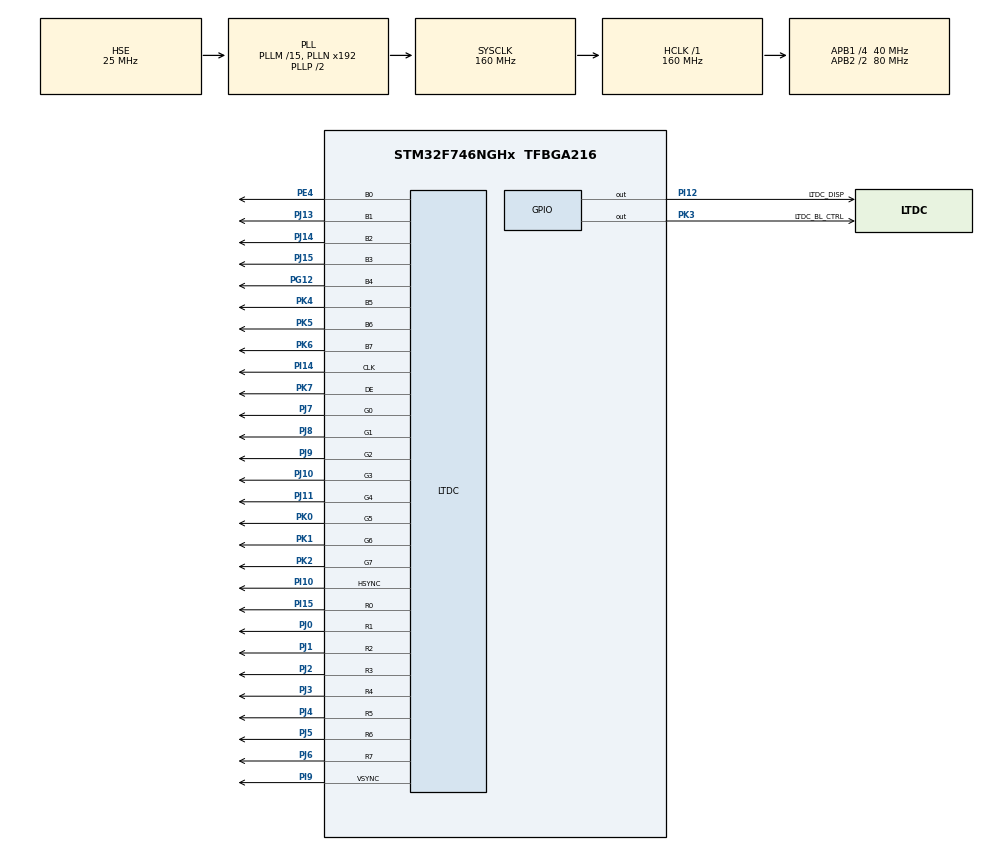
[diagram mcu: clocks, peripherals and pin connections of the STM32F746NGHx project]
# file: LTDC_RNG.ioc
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CORTEX_M7.AccessPermission-Cortex_Memory_Protection_Unit_Region0_Settings=MPU_REGION_NO_ACCESS
CORTEX_M7.BaseAddress-Cortex_Memory_Protection_Unit_Region0_Settings=0x0
CORTEX_M7.CPU_DCache=Disabled
CORTEX_M7.CPU_ICache=Disabled
CORTEX_M7.Enable-Cortex_Memory_Protection_Unit_Region0_Settings=MPU_REGION_ENABLE
CORTEX_M7.IsCacheable-Cortex_Memory_Protection_Unit_Region0_Settings=MPU_ACCESS_NOT_CACHEABLE
CORTEX_M7.MPU_Control=__NULL
CORTEX_M7.Size-Cortex_Memory_Protection_Unit_Region0_Settings=MPU_REGION_SIZE_256KB
LTDC.ActiveH=272
LTDC.ActiveW=480
LTDC.Alpha_L0=255
LTDC.HBP=13
LTDC.HFP=32
LTDC.HSync=41
LTDC.ImageHeight_L0=272
LTDC.ImageWidth_L0=480
LTDC.Layers=0
LTDC.PixelFormat_L0=LTDC_PIXEL_FORMAT_RGB565
LTDC.VSync=10
LTDC.WindowX1_L0=480
LTDC.WindowY1_L0=272
Mcu.Family=STM32F7
Mcu.Name=STM32F746NGHx
Mcu.Package=TFBGA216
NVIC.PriorityGroup=NVIC_PRIORITYGROUP_4
PA13.Mode=Trace_Asynchronous_SW
PA13.Signal=SYS_JTMS-SWDIO
PA14.Mode=Trace_Asynchronous_SW
PA14.Signal=SYS_JTCK-SWCLK
PB3.Mode=Trace_Asynchronous_SW
PB3.Signal=SYS_JTDO-SWO
PE4.GPIO_Speed=GPIO_SPEED_FREQ_HIGH
PE4.Mode=RGB888
PE4.Signal=LTDC_B0
PG12.GPIO_Speed=GPIO_SPEED_FREQ_HIGH
PG12.Mode=RGB888
PG12.Signal=LTDC_B4
PH0/OSC_IN.Mode=HSE-External-Oscillator
PH0/OSC_IN.Signal=RCC_OSC_IN
PH1/OSC_OUT.Mode=HSE-External-Oscillator
PH1/OSC_OUT.Signal=RCC_OSC_OUT
PI10.GPIO_Speed=GPIO_SPEED_FREQ_HIGH
PI10.Mode=RGB888
PI10.Signal=LTDC_HSYNC
PI12.GPIO_Label=LTDC_DISP
PI12.PinState=GPIO_PIN_SET
PI12.Signal=GPIO_Output
PI14.GPIO_Speed=GPIO_SPEED_FREQ_HIGH
PI14.Mode=RGB888
PI14.Signal=LTDC_CLK
PI15.GPIO_Speed=GPIO_SPEED_FREQ_HIGH
PI15.Mode=RGB888
PI15.Signal=LTDC_R0
PI9.GPIO_Speed=GPIO_SPEED_FREQ_HIGH
PI9.Mode=RGB888
PI9.Signal=LTDC_VSYNC
PJ0.GPIO_Speed=GPIO_SPEED_FREQ_HIGH
PJ0.Mode=RGB888
PJ0.Signal=LTDC_R1
PJ1.GPIO_Speed=GPIO_SPEED_FREQ_HIGH
PJ1.Mode=RGB888
PJ1.Signal=LTDC_R2
PJ10.GPIO_Speed=GPIO_SPEED_FREQ_HIGH
PJ10.Mode=RGB888
PJ10.Signal=LTDC_G3
PJ11.GPIO_Speed=GPIO_SPEED_FREQ_HIGH
PJ11.Mode=RGB888
PJ11.Signal=LTDC_G4
PJ13.GPIO_Speed=GPIO_SPEED_FREQ_HIGH
PJ13.Mode=RGB888
PJ13.Signal=LTDC_B1
PJ14.GPIO_Speed=GPIO_SPEED_FREQ_HIGH
PJ14.Mode=RGB888
PJ14.Signal=LTDC_B2
PJ15.GPIO_Speed=GPIO_SPEED_FREQ_HIGH
PJ15.Mode=RGB888
PJ15.Signal=LTDC_B3
PJ2.GPIO_Speed=GPIO_SPEED_FREQ_HIGH
PJ2.Mode=RGB888
PJ2.Signal=LTDC_R3
PJ3.GPIO_Speed=GPIO_SPEED_FREQ_HIGH
PJ3.Mode=RGB888
PJ3.Signal=LTDC_R4
PJ4.GPIO_Speed=GPIO_SPEED_FREQ_HIGH
PJ4.Mode=RGB888
PJ4.Signal=LTDC_R5
PJ5.GPIO_Speed=GPIO_SPEED_FREQ_HIGH
PJ5.Mode=RGB888
PJ5.Signal=LTDC_R6
PJ6.GPIO_Speed=GPIO_SPEED_FREQ_HIGH
PJ6.Mode=RGB888
PJ6.Signal=LTDC_R7
PJ7.GPIO_Speed=GPIO_SPEED_FREQ_HIGH
PJ7.Mode=RGB888
PJ7.Signal=LTDC_G0
PJ8.GPIO_Speed=GPIO_SPEED_FREQ_HIGH
PJ8.Mode=RGB888
PJ8.Signal=LTDC_G1
PJ9.GPIO_Speed=GPIO_SPEED_FREQ_HIGH
PJ9.Mode=RGB888
PJ9.Signal=LTDC_G2
PK0.GPIO_Speed=GPIO_SPEED_FREQ_HIGH
PK0.Mode=RGB888
PK0.Signal=LTDC_G5
PK1.GPIO_Speed=GPIO_SPEED_FREQ_HIGH
PK1.Mode=RGB888
PK1.Signal=LTDC_G6
PK2.GPIO_Speed=GPIO_SPEED_FREQ_HIGH
PK2.Mode=RGB888
PK2.Signal=LTDC_G7
PK3.GPIO_Label=LTDC_BL_CTRL
PK3.PinState=GPIO_PIN_SET
PK3.Signal=GPIO_Output
PK4.GPIO_Speed=GPIO_SPEED_FREQ_HIGH
PK4.Mode=RGB888
PK4.Signal=LTDC_B5
PK5.GPIO_Speed=GPIO_SPEED_FREQ_HIGH
PK5.Mode=RGB888
PK5.Signal=LTDC_B6
PK6.GPIO_Speed=GPIO_SPEED_FREQ_HIGH
PK6.Mode=RGB888
PK6.Signal=LTDC_B7
PK7.GPIO_Speed=GPIO_SPEED_FREQ_HIGH
PK7.Mode=RGB888
PK7.Signal=LTDC_DE
ProjectManager.HeapSize=0x200
ProjectManager.StackSize=0x400
ProjectManager.TargetToolchain=STM32CubeIDE
RCC.AHBFreq_Value=160000000
RCC.APB1CLKDivider=RCC_HCLK_DIV4
RCC.APB1Freq_Value=40000000
RCC.APB1TimFreq_Value=80000000
RCC.APB2CLKDivider=RCC_HCLK_DIV2
RCC.APB2Freq_Value=80000000
RCC.APB2TimFreq_Value=160000000
RCC.CortexFreq_Value=160000000
RCC.HCLKFreq_Value=160000000
RCC.HSE_VALUE=25000000
RCC.HSI_VALUE=16000000
RCC.LSE_VALUE=32768
RCC.PLL48CLockSelection=RCC_CLK48SOURCE_PLLSAIP
RCC.PLLM=15
RCC.PLLQ=7
RCC.PLLSAIN=108
RCC.PLLSAIP=RCC_PLLSAIP_DIV4
RCC.PLLSAIR=5
RCC.PLLSAIRDiv=RCC_PLLSAIDIVR_4
RCC.PLLSourceVirtual=RCC_PLLSOURCE_HSE
RCC.SYSCLKFreq_VALUE=160000000
RCC.SYSCLKSource=RCC_SYSCLKSOURCE_PLLCLK
RCC.USBFreq_Value=45000000
RCC.VCOOutputFreq_Value=320000000
VP_RNG_VS_RNG.Mode=RNG_Activate
board=custom

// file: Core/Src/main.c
/* USER CODE BEGIN Header */
/**
  ******************************************************************************
  * @file           : main.c
  * @brief          : Main program body
  ******************************************************************************
  * @attention
  *
  * Copyright (c) 2025 STMicroelectronics.
  * All rights reserved.
  *
  * This software is licensed under terms that can be found in the LICENSE file
  * in the root directory of this software component.
  * If no LICENSE file comes with this software, it is provided AS-IS.
  *
  ******************************************************************************
  */
/* USER CODE END Header */
#include "main.h"
#include "ltdc.h"
#include "rng.h"
#include "gpio.h"

/* USER CODE BEGIN Includes */
#include "MyTFT.h"
/* USER CODE END Includes */

/* USER CODE BEGIN PV */
volatile uint32_t RGB565_480x272[65280] = {0x00000000};
/* USER CODE END PV */

void SystemClock_Config(void);
void PeriphCommonClock_Config(void);

int main(void)
{

  /* MCU Configuration--------------------------------------------------------*/

  /* Reset of all peripherals, Initializes the Flash interface and the Systick. */
  HAL_Init();

  /* Configure the system clock */
  SystemClock_Config();

  /* Configure the peripherals common clocks */
  PeriphCommonClock_Config();

  /* Initialize all configured peripherals */
  MX_GPIO_Init();
  MX_LTDC_Init();
  MX_RNG_Init();
  /* USER CODE BEGIN 2 */
  HAL_LTDC_SetAddress(&hltdc, (uint32_t) &RGB565_480x272, 0);
  TFT_FillScreen((uint32_t)0x0000);
  /* USER CODE END 2 */

  /* Infinite loop */
  while (1)
  {

    /* USER CODE BEGIN 3 */
	for(uint16_t i = 0; i < 25; i++)
	{
		TFT_FillScreen((uint16_t)HAL_RNG_GetRandomNumber(&hrng));
		HAL_Delay(100);
	}

	TFT_FillScreen(0);
	HAL_Delay(1000);

	for(uint16_t i = 0; i < 250; i++)
	{
		TFT_FillRectangle(HAL_RNG_GetRandomNumber(&hrng) % 480,
			HAL_RNG_GetRandomNumber(&hrng) % 272,
			HAL_RNG_GetRandomNumber(&hrng) % 480,
			HAL_RNG_GetRandomNumber(&hrng) % 272,
			(uint16_t)HAL_RNG_GetRandomNumber(&hrng));
		HAL_Delay(10);
	}

	TFT_FillScreen(0);
	HAL_Delay(1000);

	for(uint16_t i = 0; i < 2500; i++)
	{
		for(uint16_t j = 0; j < 25; j++)
		{
			TFT_DrawPixel(HAL_RNG_GetRandomNumber(&hrng) % 480, HAL_RNG_GetRandomNumber(&hrng) % 272, 0);
		}

		TFT_DrawPixel(HAL_RNG_GetRandomNumber(&hrng) % 480, HAL_RNG_GetRandomNumber(&hrng) % 272, (uint16_t)HAL_RNG_GetRandomNumber(&hrng));
		HAL_Delay(1);
	}

	TFT_FillScreen(0);
	HAL_Delay(1000);

	for(uint16_t i = 0; i < 250; i++)
	{
		TFT_DrawLine(HAL_RNG_GetRandomNumber(&hrng) % 480,
			HAL_RNG_GetRandomNumber(&hrng) % 272,
			HAL_RNG_GetRandomNumber(&hrng) % 480,
			HAL_RNG_GetRandomNumber(&hrng) % 272,
			(uint16_t)HAL_RNG_GetRandomNumber(&hrng));
		HAL_Delay(10);
	}

	TFT_FillScreen(0);
	HAL_Delay(1000);
  }
  /* USER CODE END 3 */
}

void SystemClock_Config(void)
{
  RCC_OscInitTypeDef RCC_OscInitStruct = {0};
  RCC_ClkInitTypeDef RCC_ClkInitStruct = {0};

  /** Configure the main internal regulator output voltage
  */
  __HAL_RCC_PWR_CLK_ENABLE();
  __HAL_PWR_VOLTAGESCALING_CONFIG(PWR_REGULATOR_VOLTAGE_SCALE2);

  /** Initializes the RCC Oscillators according to the specified parameters
  * in the RCC_OscInitTypeDef structure.
  */
  RCC_OscInitStruct.OscillatorType = RCC_OSCILLATORTYPE_HSE;
  RCC_OscInitStruct.HSEState = RCC_HSE_ON;
  RCC_OscInitStruct.PLL.PLLState = RCC_PLL_ON;
  RCC_OscInitStruct.PLL.PLLSource = RCC_PLLSOURCE_HSE;
  RCC_OscInitStruct.PLL.PLLM = 15;
  RCC_OscInitStruct.PLL.PLLN = 192;
  RCC_OscInitStruct.PLL.PLLP = RCC_PLLP_DIV2;
  RCC_OscInitStruct.PLL.PLLQ = 7;
  if (HAL_RCC_OscConfig(&RCC_OscInitStruct) != HAL_OK)
  {
    Error_Handler();
  }

  /** Initializes the CPU, AHB and APB buses clocks
  */
  RCC_ClkInitStruct.ClockType = RCC_CLOCKTYPE_HCLK|RCC_CLOCKTYPE_SYSCLK
                              |RCC_CLOCKTYPE_PCLK1|RCC_CLOCKTYPE_PCLK2;
  RCC_ClkInitStruct.SYSCLKSource = RCC_SYSCLKSOURCE_PLLCLK;
  RCC_ClkInitStruct.AHBCLKDivider = RCC_SYSCLK_DIV1;
  RCC_ClkInitStruct.APB1CLKDivider = RCC_HCLK_DIV4;
  RCC_ClkInitStruct.APB2CLKDivider = RCC_HCLK_DIV2;

  if (HAL_RCC_ClockConfig(&RCC_ClkInitStruct, FLASH_LATENCY_5) != HAL_OK)
  {
    Error_Handler();
  }
}

void PeriphCommonClock_Config(void)
{
  RCC_PeriphCLKInitTypeDef PeriphClkInitStruct = {0};

  /** Initializes the peripherals clock
  */
  PeriphClkInitStruct.PeriphClockSelection = RCC_PERIPHCLK_LTDC|RCC_PERIPHCLK_CLK48;
  PeriphClkInitStruct.PLLSAI.PLLSAIN = 108;
  PeriphClkInitStruct.PLLSAI.PLLSAIR = 5;
  PeriphClkInitStruct.PLLSAI.PLLSAIQ = 2;
  PeriphClkInitStruct.PLLSAI.PLLSAIP = RCC_PLLSAIP_DIV4;
  PeriphClkInitStruct.PLLSAIDivQ = 1;
  PeriphClkInitStruct.PLLSAIDivR = RCC_PLLSAIDIVR_4;
  PeriphClkInitStruct.Clk48ClockSelection = RCC_CLK48SOURCE_PLLSAIP;
  if (HAL_RCCEx_PeriphCLKConfig(&PeriphClkInitStruct) != HAL_OK)
  {
    Error_Handler();
  }
}

void Error_Handler(void)
{
  __disable_irq();
  while (1)
  {
  }
}
